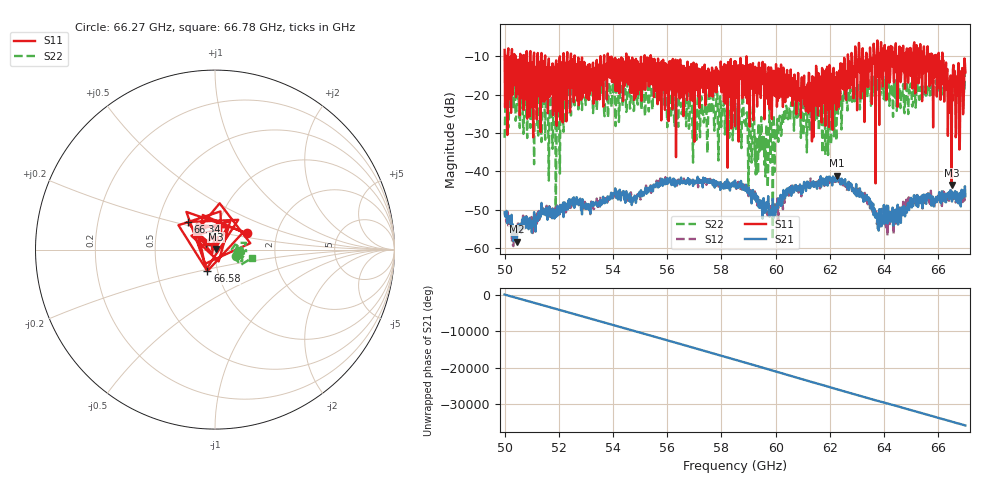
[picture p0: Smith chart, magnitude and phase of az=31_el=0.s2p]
!Created with skrf (http://scikit-rf.org).
# GHz S RI R 50.0
!freq ReS11 ImS11 ReS21 ImS21 ReS12 ImS12 ReS22 ImS22
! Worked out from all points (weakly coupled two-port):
!   1001 points, 50 GHz to 67 GHz, reference 50 ohm
!   highest |S21| = -41.10 dB at 62.27 GHz (marker M1); lowest = -58.4 dB at 50.44 GHz (marker M2)
!   lowest |S11| = -43.6 dB at 66.49 GHz (marker M3), VSWR 1.01, Z = 50.6 + j0.326 ohm
!   |S11| at or under -10 dB: 52.58 GHz to 53.54 GHz (950.8 MHz wide, 1.79 % of centre); 55.39 GHz to 58.92 GHz (3.535 GHz wide, 6.18 % of centre); 58.93 GHz to 62.66 GHz (3.739 GHz wide, 6.15 % of centre) (the widest 3 of 63)
!   |S22| runs from -57.9 to -13.5 dB; largest |S21 - S12| = 0.0022
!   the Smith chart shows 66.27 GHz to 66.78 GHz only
!   S11 on the Smith chart (normalised r, x): 66.27 GHz: 1.40, +0.27; 66.34 GHz: 0.71, +0.23; 66.58 GHz: 0.89, -0.22; 66.78 GHz: 0.98, +0.03
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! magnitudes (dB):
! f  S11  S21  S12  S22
! 50 GHz  -8.3  -50.7  -50.8  -31.3
! 50.44 GHz  -10.8  -58.4  -55.6  -22.4
! 51.16 GHz  -15.0  -52.3  -53.1  -22.1
! 51.78 GHz  -25.4  -50.0  -50.8  -30.0
! 51.97 GHz  -17.9  -51.5  -50.3  -17.6
! 52.16 GHz  -11.2  -48.2  -49.7  -26.7
! 52.84 GHz  -12.3  -48.6  -48.3  -22.5
! 55.68 GHz  -13.4  -43.2  -43.4  -19.3
! 57 GHz  -32.3  -43.2  -42.4  -19.1
! 57.62 GHz  -15.1  -42.6  -43.0  -24.6
! 58.5 GHz  -28.2  -42.4  -43.3  -21.4
! 59.66 GHz  -15.0  -48.1  -49.2  -27.7
! 60.32 GHz  -19.6  -47.0  -46.3  -23.7
! 61.34 GHz  -32.2  -43.2  -43.9  -27.0
! 62.27 GHz  -15.3  -41.1  -40.9  -23.8
! 64.18 GHz  -12.2  -50.8  -52.4  -18.3
! 66.27 GHz  -14.0  -48.1  -48.0  -18.5
! 66.34 GHz  -13.3  -46.1  -47.4  -16.8
! 66.49 GHz  -43.6  -47.1  -46.8  -15.5
! 66.58 GHz  -17.9  -45.7  -46.3  -15.2
! 66.78 GHz  -34.3  -46.6  -46.2  -13.5
! 67 GHz  -14.2  -46.5  -45.8  -13.7
